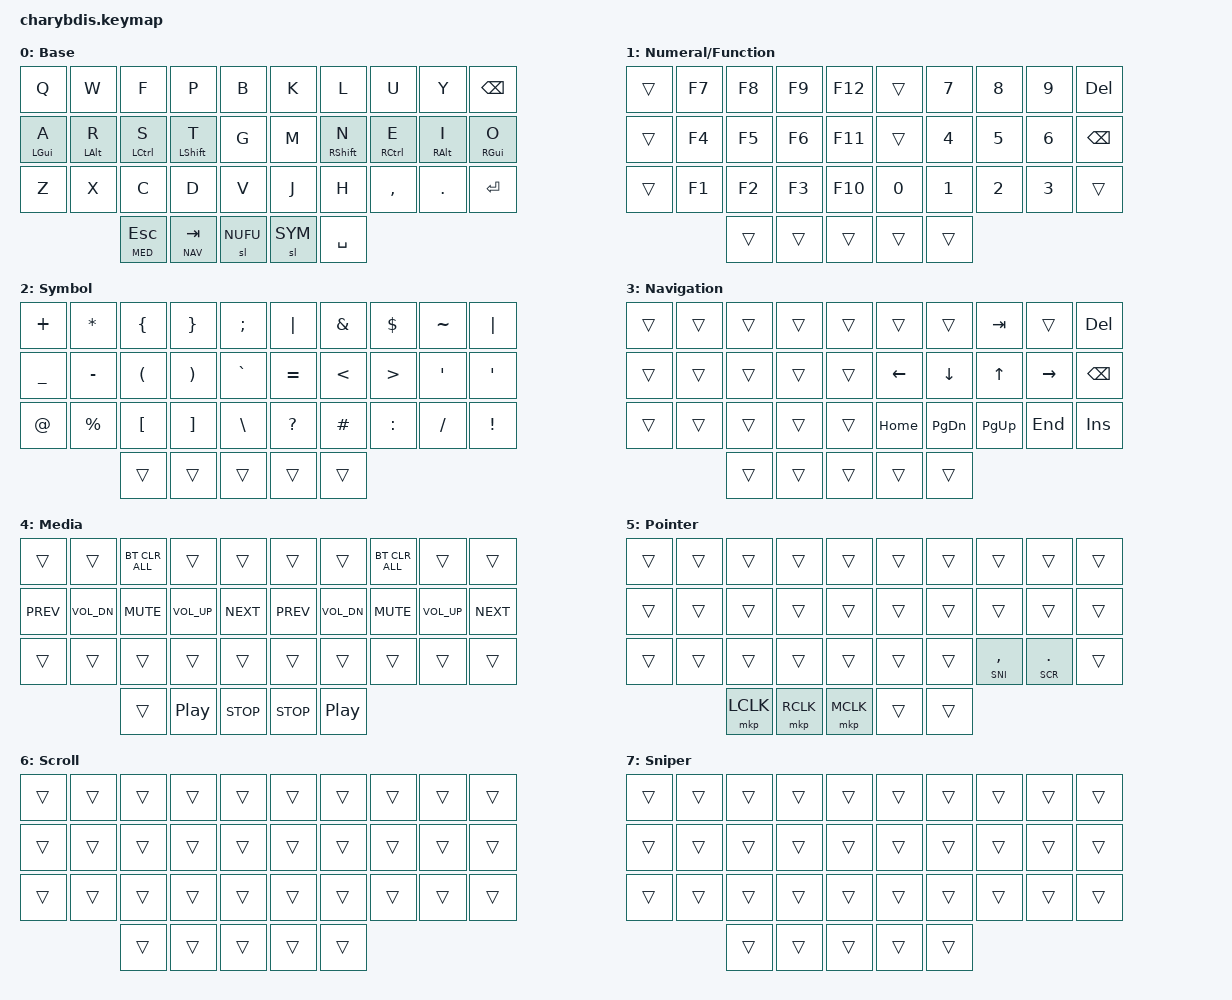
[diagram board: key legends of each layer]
#include <dt-bindings/zmk/mouse.h>
#include <behaviors/mouse_keys.dtsi>
#include <behaviors.dtsi>
#include <dt-bindings/zmk/bt.h>
#include <dt-bindings/zmk/keys.h>

#define BASE 0
#define NUFU 1
#define SYM 2
#define NAV 3
#define MED 4
#define POI 5
#define SCR 6
#define SNI 7

&sl { release-after-ms = <250>; };

&mt {
    tapping-term-ms = <150>;
    require-prior-idle-ms = <50>;
    quick-tap-ms = <100>;
    flavor = "tap-preferred";
    hold-trigger-on-release;
};

/ {
    chosen { zmk,matrix_transform = &five_column_transform; };

    #include "combos.dtsi"

    behaviors {
        hml: homewrow_mods_left {
            compatible = "zmk,behavior-hold-tap";
            label = "HOMEROW_MODS_LEFT_HAND";
            bindings = <&kp>, <&kp>;

            #binding-cells = <2>;
            tapping-term-ms = <170>;
            hold-trigger-key-positions = <5 6 7 8 9 15 16 17 18 19 25 26 27 28 29 33 34>;
            flavor = "tap-preferred";
            quick-tap-ms = <100>;
            require-prior-idle-ms = <70>;
            hold-trigger-on-release;
        };

        hmr: homewrow_mods_right {
            compatible = "zmk,behavior-hold-tap";
            label = "HOMEROW_MODS_RIGHT_HAND";
            bindings = <&kp>, <&kp>;

            #binding-cells = <2>;
            tapping-term-ms = <170>;
            hold-trigger-key-positions = <0 1 2 3 4 10 11 12 13 14 20 21 22 23 24 30 31 32>;
            flavor = "tap-preferred";
            quick-tap-ms = <100>;
            require-prior-idle-ms = <70>;
            hold-trigger-on-release;
        };
    };

    keymap {
        compatible = "zmk,keymap";

        Base {
            label = "Base";
            bindings = <
                &kp Q        &kp W        &kp F         &kp P          &kp B       &kp K      &kp L         &kp U         &kp Y        &kp BACKSPACE
                &hml LGUI A  &hml LALT R  &hml LCTRL S  &hml LSHFT T   &kp G       &kp M      &hml RSHFT N  &hml RCTRL E  &hml RALT I  &hml RGUI O
                &kp Z        &kp X        &kp C         &kp D          &kp V       &kp J      &kp H         &kp COMMA     &kp DOT      &kp ENTER
                                            &lt MED ESC   &lt NAV TAB  &sl NUFU    &sl SYM    &kp SPACE  
            >;
        };

        NuFu {
            label = "Numeral/Function";
            bindings = <
                &trans  &kp F7  &kp F8  &kp F9  &kp F12    &trans  &kp N7  &kp N8  &kp N9  &kp DELETE
                &trans  &kp F4  &kp F5  &kp F6  &kp F11    &trans  &kp N4  &kp N5  &kp N6  &kp BACKSPACE
                &trans  &kp F1  &kp F2  &kp F3  &kp F10    &kp N0  &kp N1  &kp N2  &kp N3  &trans
                                        &trans  &trans  &trans     &trans  &trans
            >;
        };

        Symbol {
            label = "Symbol";
            bindings = <
                &kp PLUS         &kp ASTERISK   &kp LEFT_BRACE         &kp RIGHT_BRACE         &kp SEMICOLON    &kp PIPE      &kp AMPERSAND  &kp DOLLAR          &kp TILDE          &kp PIPE
                &kp UNDERSCORE   &kp MINUS      &kp LEFT_PARENTHESIS   &kp RIGHT_PARENTHESIS   &kp GRAVE        &kp EQUAL     &kp LESS_THAN  &kp GREATER_THAN    &kp SQT            &kp APOS
                &kp AT_SIGN      &kp PERCENT    &kp LEFT_BRACKET       &kp RIGHT_BRACKET       &kp BSLH         &kp QUESTION  &kp HASH       &kp COLON           &kp FSLH           &kp EXCLAMATION
                                            &trans           &trans           &trans           &trans  &trans
            >;
        };

        Navigation {
            label = "Navigation";
            bindings = <
                &trans  &trans  &trans  &trans  &trans    &trans    &trans         &kp TAB      &trans     &kp DELETE
                &trans  &trans  &trans  &trans  &trans    &kp LEFT  &kp DOWN       &kp UP       &kp RIGHT  &kp BACKSPACE
                &trans  &trans  &trans  &trans  &trans    &kp HOME  &kp PAGE_DOWN  &kp PAGE_UP  &kp END    &kp INS
                                        &trans  &trans  &trans    &trans    &trans
            >;
        };

        Media {
            label = "Media";
            bindings = <
  &trans      &trans        &bt BT_CLR_ALL  &trans            &trans        &trans      &trans            &bt BT_CLR_ALL  &trans        &trans
  &kp C_PREV  &kp C_VOL_DN  &kp C_MUTE      &kp C_VOL_UP      &kp C_NEXT    &kp C_PREV  &kp C_VOL_DN      &kp C_MUTE      &kp C_VOL_UP  &kp C_NEXT
  &trans      &trans        &trans          &trans            &trans        &trans      &trans            &trans          &trans        &trans
                            &trans          &kp C_PLAY_PAUSE  &kp C_STOP    &kp C_STOP  &kp C_PLAY_PAUSE
            >;
        };

        Pointer {
            label = "Pointer";
            bindings = <
  &trans    &trans   &trans    &trans     &trans       &trans     &trans     &trans    &trans    &trans
  &trans    &trans   &trans    &trans     &trans       &trans     &trans     &trans    &trans    &trans
  &trans    &trans   &trans    &trans     &trans       &trans     &trans      &lt SNI COMMA   &lt SCR DOT    &trans
                      &mkp LCLK  &mkp RCLK  &mkp MCLK    &trans  &trans
            >;
        };

        Scroll {
            label = "Scroll";
            bindings = <
  &trans  &trans  &trans  &trans  &trans    &trans  &trans  &trans  &trans  &trans
  &trans  &trans  &trans  &trans  &trans    &trans  &trans  &trans  &trans  &trans
  &trans  &trans  &trans  &trans  &trans    &trans  &trans  &trans  &trans  &trans
                  &trans  &trans  &trans    &trans  &trans
            >;
        };

        Sniper {
            label = "Sniper";
            bindings = <
  &trans  &trans  &trans  &trans  &trans    &trans  &trans  &trans  &trans  &trans
  &trans  &trans  &trans  &trans  &trans    &trans  &trans  &trans  &trans  &trans
  &trans  &trans  &trans  &trans  &trans    &trans  &trans  &trans  &trans  &trans
                  &trans  &trans  &trans    &trans  &trans
            >;
        };
    };
};
